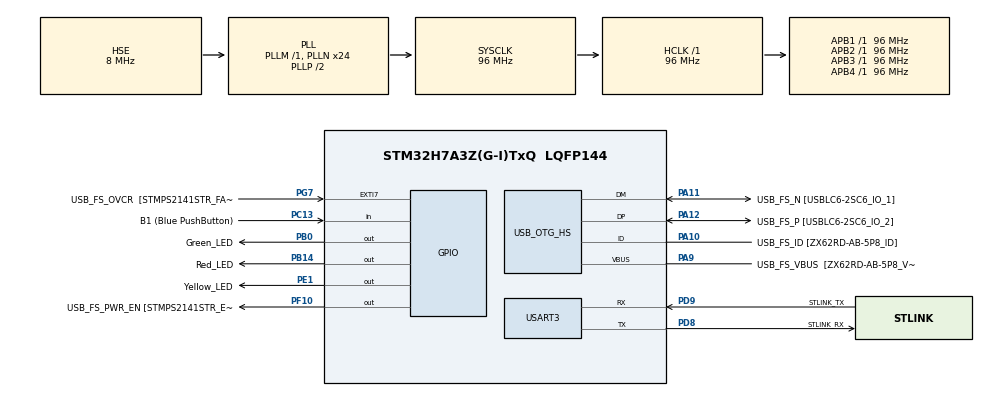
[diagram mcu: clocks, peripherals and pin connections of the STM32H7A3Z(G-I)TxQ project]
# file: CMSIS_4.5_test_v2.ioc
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Mcu.Family=STM32H7
Mcu.Name=STM32H7A3Z(G-I)TxQ
Mcu.Package=LQFP144
NVIC.PriorityGroup=NVIC_PRIORITYGROUP_4
PA10.GPIO_Label=USB_FS_ID [ZX62RD-AB-5P8_ID]
PA10.Mode=OTG/Dual-Role-Device-FS
PA10.Signal=USB_OTG_HS_ID
PA11.GPIO_Label=USB_FS_N [USBLC6-2SC6_IO_1]
PA11.Mode=OTG/Dual-Role-Device-FS
PA11.Signal=USB_OTG_HS_DM
PA12.GPIO_Label=USB_FS_P [USBLC6-2SC6_IO_2]
PA12.Mode=OTG/Dual-Role-Device-FS
PA12.Signal=USB_OTG_HS_DP
PA9.GPIO_Label=USB_FS_VBUS  [ZX62RD-AB-5P8_VBUS]
PA9.Mode=Activate_VBUS_FS
PA9.Signal=USB_OTG_HS_VBUS
PB0.GPIO_Label=Green_LED
PB0.Signal=GPIO_Output
PB14.GPIO_Label=Red_LED
PB14.Signal=GPIO_Output
PC13.GPIO_Label=B1 (Blue PushButton)
PC13.Signal=GPIO_Input
PC14-OSC32_IN.GPIO_Label=OSC32_IN
PC14-OSC32_IN.Mode=LSE-External-Oscillator
PC14-OSC32_IN.Signal=RCC_OSC32_IN
PC15-OSC32_OUT.GPIO_Label=OSC32_OUT
PC15-OSC32_OUT.Mode=LSE-External-Oscillator
PC15-OSC32_OUT.Signal=RCC_OSC32_OUT
PD8.GPIO_Label=STLINK_RX
PD8.Mode=Asynchronous
PD8.Signal=USART3_TX
PD9.GPIO_Label=STLINK_TX
PD9.Mode=Asynchronous
PD9.Signal=USART3_RX
PE1.GPIO_Label=Yellow_LED
PE1.Signal=GPIO_Output
PF10.GPIO_Label=USB_FS_PWR_EN [STMPS2141STR_EN]
PF10.Signal=GPIO_Output
PG7.GPIO_Label=USB_FS_OVCR  [STMPS2141STR_FAULT]
PG7.Signal=GPXTI7
PH0-OSC_IN.GPIO_Label=PH0-MCU
PH0-OSC_IN.Mode=HSE-External-Clock-Source
PH0-OSC_IN.Signal=RCC_OSC_IN
PH1-OSC_OUT.GPIO_Label=PH1-MCU
PH1-OSC_OUT.Signal=RCC_OSC_OUT
ProjectManager.HeapSize=0x200
ProjectManager.StackSize=0x400
ProjectManager.TargetToolchain=STM32CubeIDE
RCC.ADCFreq_Value=16125000
RCC.APB1Freq_Value=96000000
RCC.APB2Freq_Value=96000000
RCC.APB3Freq_Value=96000000
RCC.APB4Freq_Value=96000000
RCC.CortexFreq_Value=96000000
RCC.DIVM1=1
RCC.DIVM3=1
RCC.DIVN1=24
RCC.DIVN3=24
RCC.DIVQ1=4
RCC.HCLKFreq_Value=96000000
RCC.HSE_VALUE=8000000
RCC.PLLFRACN=0
RCC.PLLSourceVirtual=RCC_PLLSOURCE_HSE
RCC.PWR_Regulator_Voltage_Scale=PWR_REGULATOR_VOLTAGE_SCALE0
RCC.SYSCLKFreq_VALUE=96000000
RCC.SYSCLKSource=RCC_SYSCLKSOURCE_PLLCLK
RCC.SupplySource=PWR_DIRECT_SMPS_SUPPLY
RCC.USBCLockSelection=RCC_USBCLKSOURCE_HSI48
RCC.USBFreq_Value=48000000
USART3.VirtualMode-Asynchronous=VM_ASYNC
board=NUCLEO-H7A3ZI-Q

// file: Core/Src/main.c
/* USER CODE BEGIN Header */
/**
  ******************************************************************************
  * @file           : main.c
  * @brief          : Main program body
  ******************************************************************************
  * @attention
  *
  * Copyright (c) 2022 STMicroelectronics.
  * All rights reserved.
  *
  * This software is licensed under terms that can be found in the LICENSE file
  * in the root directory of this software component.
  * If no LICENSE file comes with this software, it is provided AS-IS.
  *
  ******************************************************************************
  */
/* USER CODE END Header */
#include "main.h"

/* USER CODE BEGIN Includes */
#include <stdio.h>
#include <stdlib.h>
#include <stdarg.h>
#include "string.h"
#include "arm_math.h"
/* USER CODE END Includes */

/* USER CODE BEGIN PD */
#define WINDOW_SIZE 4 	// Window size of array to calculate covariance
#define NUM_OF_VARIABLES 3 	// Number of variables from sensors for calculating covariance
#define TOTAL_SIZE 12 // WINDOW_SIZE * NUM_OF_VARIABLES

#define SQUARE_SIZE 9 // NUM_OF_VARIABLES^2
/* USER CODE END PD */

UART_HandleTypeDef huart3;

void SystemClock_Config(void);
static void MX_GPIO_Init(void);
static void MX_USART3_UART_Init(void);
static void MX_USB_OTG_HS_USB_Init(void);
/* USER CODE BEGIN PFP */
//arm_status mat_f32_check_equal(arm_matrix_instance_f32 matrixA, arm_matrix_instance_f32 matrixB);
//
//arm_status mat_mult_f32_test(arm_matrix_instance_f32 matrixA, arm_matrix_instance_f32 matrixB, arm_matrix_instance_f32 matrixTrue);
//
//arm_status mat_trans_f32_test(arm_matrix_instance_f32 matrixA, arm_matrix_instance_f32 matrixTrue);
//
//void vec_f32_demean(float32_t dataVector[WINDOW_SIZE], float32_t demeanedVector[WINDOW_SIZE]);
//
//arm_status create_data_matrix(arm_matrix_instance_f32* uninitialised_matrix, int numOfArrays, ...);
//
//arm_status create_data_matrix_f32_test_3_arrays(float32_t array1[9], float32_t array2[9], float32_t array3[9], float32_t arrayTrue[27]);

/* USER CODE END PFP */

/* USER CODE BEGIN 0 */

arm_status mat_f32_check_equal(arm_matrix_instance_f32 matrixA, arm_matrix_instance_f32 matrixB) {
	/*
	 * Returns ARM_MATH_SIZE_MISMATCH if sizes aren't equal
	 * Returns ARM_MATH_SUCCESS if matrices are equal
	 * Returns ARM_MATH_TEST_FAILURE if matrices aren't equal
	 *
	 * */

	// Check if the rows and cols match up in number
	int test_nRows = (matrixA.numRows == matrixB.numRows);
	int test_nCols = (matrixA.numCols == matrixB.numCols);

	// If there's a mismatch, then return ARM_MATH_SIZE_MISMATCH immediately
	if (test_nRows * test_nCols == 0) {
		return ARM_MATH_SIZE_MISMATCH;
	}

	// Since rows and cols match, we need to check every entry
	for (int i = 0; i < (matrixA.numRows) * (matrixA.numCols); i++) {
		if (matrixA.pData[i] != matrixB.pData[i]) {
			return ARM_MATH_TEST_FAILURE;
		}
	}

	// If it's fine, then return ARM_MATH_SUCCESS
	return ARM_MATH_SUCCESS;
}

arm_status mat_mult_f32_test(arm_matrix_instance_f32 matrixA, arm_matrix_instance_f32 matrixB, arm_matrix_instance_f32 matrixTrue) {
	/*
	 * Checks if matrixA * matrixB equals matrixTrue
	 * Returns ARM_MATH_SUCCESS if the test is passed
	 * Returns ARM_MATH_TEST_FAILURE if the test fails
	 * Returns ARM_MATH_SIZE_MISMATCH if the sizes of each matrix are incompatible
	 * */
	// Initialise variables
	arm_matrix_instance_f32 matrixC; //C. Meant to be C = AB

	// Initialise matrixC to store the result of matrixA * matrixB
	uint16_t matrixC_size = matrixA.numRows * matrixB.numCols;
	float32_t pDataC[matrixC_size];
	arm_mat_init_f32(&matrixC, matrixA.numRows, matrixB.numCols, pDataC);

	// Multiply A and B and store in C. Status stores error info if necessary
	arm_status status = arm_mat_mult_f32(&matrixA, &matrixB, &matrixC);

	// If multiplication failed, then return it
	// If not, then check if the result is equal to the true result and return status

	if (status == ARM_MATH_SUCCESS) {
		status = mat_f32_check_equal(matrixC, matrixTrue);
	}
	free(pDataC);
	return status;
}

arm_status mat_trans_f32_test(arm_matrix_instance_f32 matrixA, arm_matrix_instance_f32 matrixTrue) {
	// Initialise variables
	arm_matrix_instance_f32 matrixAT;
	uint16_t sizeMatrixAT = matrixA.numRows * matrixA.numCols;
	float32_t pDataAT[sizeMatrixAT];
	arm_mat_init_f32(&matrixAT, matrixA.numCols, matrixA.numRows, pDataAT);

	// Transpose A and store in AT
	arm_status status = arm_mat_trans_f32(&matrixA, &matrixAT);

	if (status == ARM_MATH_SIZE_MISMATCH) {
		Error_Handler();
	}

	// Check if the result matches the true answer
	status = mat_f32_check_equal(matrixAT, matrixTrue);

	return status;
}

void vec_f32_demean(float32_t dataVector[WINDOW_SIZE]/*, float32_t demeanedVector[WINDOW_SIZE]*/) {
/*
 *
 * */
	// Initialise variables
	float32_t meanValue = 0; // Stores mean of the dataVector input

	// first, get the mean of this 1 x WINDOW_SIZE vector and store in meanValue
	arm_mean_f32(dataVector, (uint32_t) WINDOW_SIZE, &meanValue);

	// Now offset the input vector by the mean value
	arm_offset_f32(dataVector, -meanValue, dataVector, (uint32_t) WINDOW_SIZE);

}

arm_status create_data_matrix_f32(arm_matrix_instance_f32* uninitialised_matrix, int numOfArrays, ...) {
	/* This function takes in an uninitialised matrix ptr, a number of arrays, and those float32_t arrays themselves
	 * It checks that there is an appropriate number of inputs and that all inputs are of the appropriate size
	 * If this is true, then the matrix is initialised formally with each array being a row of the matrix.
	 *
	 *
	 * uninitialised_matrix: Uninitialised matrix instance. This will be altered to turn into the relevant matrix
	 * numOfArrays: A counter to check how many arrays were passed in
	 * ...: Variable number of arrays passed in. Arrays of float32_t type to match the va_arg calls in this function
	 * 	NOTE: Each array should have a length of WINDOW_SIZE, but as of 18/07/2022
	 *
	 * Returns ARM_MATH_SUCCESS if a matrix was initialised correctly
	 * If numOfArrays doesn't match NUM_OF_VARIABLES, returns with ARM_MATH_SIZE_MISMATCH
	 * Also sets uninitialised_matrix to have the relevant size (nRows = numOfArrays ; nCols = WINDOW_SIZE)
	 * 	Each row corresponds to a different variable. They represent the 0th to (WINDOW_SIZE - 1)th sample
	 * 		(eg: XAccel data from 1st sample to 100th sample, corresponding )
	 * 	Each column represents the nth data entry of all variables
	 * 		(eg: n = 4 matches column 3: Column 3 has the 4th data entry for XAccel, YAccel, ZAccel, Altitude, Pressure, Temp)
	 *
	 * Eg: create_data_matrix_f32(dummy_matrix, 3, XAccelVector[WINDOW_SIZE], YAccelVector[WINDOW_SIZE], ZAccelVector[WINDOW_SIZE]);
	 * */
	// if numOfArrays != NUM_OF_VARIABLES, then return size mismatch immediately
	if (numOfArrays != NUM_OF_VARIABLES) {
		return ARM_MATH_SIZE_MISMATCH;
	}
	// Declare variable argument variables and other variables
	va_list valist;
//	int outputVector_size = WINDOW_SIZE * numOfArrays;
	float32_t outputVector[TOTAL_SIZE];

	// Start accessing the arguments
	va_start(valist, numOfArrays);

	// Since all arguments from here should be float32_t arrays, declare a dummy array to store it
	float32_t* argument = NULL;

	for (int i = 0; i < numOfArrays; i++) {
		// Get next argument
		argument = va_arg(valist, float32_t*);

		// If the length of this argument doesn't match WINDOW_SIZE, then return size mismatch
//		if ((sizeof(argument))/(sizeof(float32_t)) != WINDOW_SIZE) {
//			return ARM_MATH_SIZE_MISMATCH;
//		}

		// Add it to the output array
		for (int j = 0; j < WINDOW_SIZE; j++) {
			outputVector[i * WINDOW_SIZE + j] = argument[j];
		}
	}
	// Stop accessing arguments
	va_end(valist);

	// Output vector now has everything we need
	// Properly initialise the matrix so that it has everything it needs
	arm_mat_init_f32(uninitialised_matrix, numOfArrays, (uint16_t) WINDOW_SIZE, outputVector);

	// Seems like the function works; return ARM_MATH_SUCCESS
	return ARM_MATH_SUCCESS;
}

arm_status create_covariance_matrix_f32(arm_matrix_instance_f32* dataMatrix, int N, arm_matrix_instance_f32* covarianceMatrix) {
	/*
	* Inputs:
	* dataMatrix: A matrix with all the data entries in them, and demeaned already
	* 	The format should be:
	* 		Rows representing different variables
	* 		Columns representing different samples
	* 	Note that the create_data_matrix_f32 function turns the uninitialised matrix input into a
	* 	matrix with the compatible format for this function
	*
	* N: the number of samples (should be WINDOW_SIZE anyway). Bessel's correction is done internally anyway
	* covarianceMatrix: An uninitialised matrix with known dimensions
	* 	(NUM_OF_VARIABLES x NUM_OF_VARIABLES)
	*
	* Outputs:
	* status to show if the function completed the steps.
	* 	Furthermore, the covarianceMatrix input will now be initialised with the correct data
	* */

	// Initialise status variable
	arm_status status;

	// Initialise a new matrix to store the transpose of dataMatrix
	arm_matrix_instance_f32* dataMatrixT = dataMatrix - ((TOTAL_SIZE+1) * sizeof(arm_matrix_instance_f32));
//	uint16_t dataMatrixT_size = (dataMatrix.numRows) * (dataMatrix.numCols);
//	float32_t pData_dataMatrixT[TOTAL_SIZE];
	float32_t* pData_dataMatrixT = dataMatrix->pData - ((TOTAL_SIZE+1) * sizeof(float32_t));
	arm_mat_init_f32(dataMatrixT, dataMatrix->numCols, dataMatrix->numRows, pData_dataMatrixT);

	// Initialise a new matrix to store the result of dataMatrix * dataMatrixT
	arm_matrix_instance_f32* tempMatrix = (dataMatrixT) - ((TOTAL_SIZE+1) * sizeof(arm_matrix_instance_f32));
//	uint16_t tempMatrix_size = (dataMatrix.numRows) * (dataMatrix.numRows); // Due to the order of multiplication
//	float32_t pData_tempMatrix[SQUARE_SIZE];
	float32_t* pData_tempMatrix = (dataMatrixT->pData) - ((TOTAL_SIZE+1) * sizeof(float32_t));
	arm_mat_init_f32(tempMatrix, (dataMatrix->numRows), (dataMatrix->numRows), pData_tempMatrix);

	// Properly initialise the covariance matrix
//	uint16_t covarianceMatrix_size = (dataMatrix.numRows) * (dataMatrix.numRows);
//	float32_t pData_covarianceMatrix[SQUARE_SIZE];
	float32_t* pData_covarianceMatrix = (tempMatrix->pData) - ((TOTAL_SIZE+1) * sizeof(float32_t));
	arm_mat_init_f32(covarianceMatrix, dataMatrix->numRows, dataMatrix->numRows, pData_covarianceMatrix);

	// Transpose dataMatrix and store in dataMatrixT
	status = arm_mat_trans_f32(dataMatrix, &dataMatrixT);

	if (status != ARM_MATH_SUCCESS) {
		return status;
	}

	// Now do dataMatrix * dataMatrixT and store into tempMatrix
	status = arm_mat_mult_f32(dataMatrix, &dataMatrixT, &tempMatrix);

	if (status != ARM_MATH_SUCCESS) {
		return status;
	}

	// Finally, scale each result by 1/(N-1) = 1/((uint16_t) WINDOW_SIZE - 1) (Bessel's correction
	float32_t scaleFactor = ((float32_t) 1)/(N-1);
	status = arm_mat_scale_f32(&tempMatrix, scaleFactor, covarianceMatrix);
	if (status != ARM_MATH_SUCCESS) {
		return status;
	}

	return status;
}

arm_status create_data_matrix_f32_test_3_arrays(float32_t array1[9], float32_t array2[9], float32_t array3[9], float32_t arrayTrue[27]) {
	// Initialise variables
	arm_matrix_instance_f32 test_matrix;
	arm_matrix_instance_f32 true_matrix;
	uint16_t arrayRows = 1;
	uint16_t arrayCols = 3;

	uint16_t arrayTrueRows = 3;
	uint16_t arrayTrueCols = 9;

	arm_status status;

	// Set up the true matrix
	arm_mat_init_f32(&true_matrix, arrayTrueRows, arrayTrueCols, arrayTrue);

	// Call the function
	status = create_data_matrix_f32(&test_matrix, 3, array1, array2, array3);

	// Check if the test matrix is the same as the true matrix
	status = mat_f32_check_equal(test_matrix, true_matrix);

	return status;

}

arm_status create_covariance_matrix_f32_test_3_arrays(float32_t array1[WINDOW_SIZE], float32_t array2[WINDOW_SIZE], float32_t array3[WINDOW_SIZE], float32_t arrayTrue[9]) {
	/*
	 * Test structure:
	 * 	Demean array1, array2, and array3 respectively using the vec_f32_demean function
	 * 	Use the resulting vectors to create a data matrix using the create_data_matrix_f32 function
	 * 	From there, pass the resulting data_matrix into the create_covariance_matrix_f32 function
	 *
	 * 	Check if the final result matches the expected result generated on MATLAB (format long just in case)
	 *	Return status if the status is not ARM_MATH_SUCCESS at some point
	 *	Return ARM_MATH_SUCCESS if the test is passed
	 *	Return ARM_MATH_TEST_FAILURE if the test fails
	 *
	 * */

	// Initialise general variables
	uint16_t numOfRows = 3;
	uint16_t numOfCols = 4;
	arm_status status;

	// Initialise variables for demeaning step
//	float32_t demeanedArray1[WINDOW_SIZE];
//	float32_t demeanedArray2[WINDOW_SIZE];
//	float32_t demeanedArray3[WINDOW_SIZE];

	// Create the true covariance matrix (size of arrayTrue should be numOfRows^2)
	arm_matrix_instance_f32 covarianceMatrixTrue;
	arm_mat_init_f32(&covarianceMatrixTrue, numOfRows, numOfRows, arrayTrue);

	// Initialise variables for data_matrix creation step
	arm_matrix_instance_f32 dataMatrix;

	int size_arm_mat_instance_f32 = sizeof(dataMatrix);

	// Initialise variables for covariance creation step
	arm_matrix_instance_f32 covarianceMatrix;

	// Demean the data and store in appropriate vectors
//	vec_f32_demean(array1, demeanedArray1);
//	vec_f32_demean(array2, demeanedArray2);
//	vec_f32_demean(array3, demeanedArray3);

	vec_f32_demean(array1);
	vec_f32_demean(array2);
	vec_f32_demean(array3);

	// Use demeanedArrays to make a data_matrix
//	status = create_data_matrix_f32(&dataMatrix, numOfRows, demeanedArray1, demeanedArray2, demeanedArray3);

	status = create_data_matrix_f32(&dataMatrix, numOfRows, array1, array2, array3);

	size_arm_mat_instance_f32 = sizeof(dataMatrix);

	if (status != ARM_MATH_SUCCESS) {
		return status;
	}

	// Use dataMatrix to make covariance matrix
	status = create_covariance_matrix_f32(&dataMatrix, numOfCols, &covarianceMatrix);

	if (status != ARM_MATH_SUCCESS) {
		return status;
	}

	// Check that this covarianceMatrix matches the true matrix
	status = mat_f32_check_equal(covarianceMatrix, covarianceMatrixTrue);

	return status;
}
/* USER CODE END 0 */

int main(void)
{

  /* MCU Configuration--------------------------------------------------------*/

  /* Reset of all peripherals, Initializes the Flash interface and the Systick. */
  HAL_Init();

  /* Configure the system clock */
  SystemClock_Config();

  /* Initialize all configured peripherals */
  MX_GPIO_Init();
  MX_USART3_UART_Init();
  MX_USB_OTG_HS_USB_Init();
  /* USER CODE BEGIN 2 */

  // Initialise some variables
  arm_matrix_instance_f32 matrixA; //A
  arm_matrix_instance_f32 matrixB; //B

  arm_matrix_instance_f32 matrixTrue_mat_mult_f32; // True result to compare against
  arm_matrix_instance_f32 matrixTrue_mat_trans_f32;

  uint16_t nRowsA = 3;
  uint16_t nColsA = 3;
  float32_t pDataA[] = {1,2,3,4,5,6,7,8,9};

  uint16_t nRowsB = 3;
  uint16_t nColsB = 3;
  float32_t pDataB[] = {8,1,3,5,2,4,8,1,5};

  float32_t pDataC[] = {9,8,7,6,5,4,3,2,1};
  float32_t pDataTrue_create_data_matrix_f32_test_3_arrays[] = {1,2,3,4,5,6,7,8,9,8,1,3,5,2,4,8,1,5,9,8,7,6,5,4,3,2,1};

  float32_t pDataX[] = {1,2,3,4};
  float32_t pDataY[] = {4,9,6,1};
  float32_t pDataZ[] = {9,2,4,6};

  uint16_t nRowsTrue_mat_mult_f32 = nRowsA;
  uint16_t nColsTrue_mat_mult_f32 = nColsB;
  float32_t pDataTrue_mat_mult_f32[] = {18,5,11,44,11,25,70,17,39};
//  float32_t pDataTrue_covariance_f32[] = {
//		  19,8,	6,4,-3,-5,-5,-16,-16,8,14.3333333333333,8.66666666666667,3,4,-1.66666666666667,-10,-3.66666666666667,-12,6,8.66666666666667,5.33333333333333,2,2,-1.33333333333333,-6,-3.33333333333333,-8,4,3,2,1,0,-1,-2,-3,-4,-3,4,2,0,3,1,-3,4.00000000000000,0,-5,-1.66666666666667,-1.33333333333333,-1,1,1.33333333333333,1,4.33333333333333,4,-5,-10,-6,-2,-3,1,7,2.00000000000000,8,-16,-3.66666666666667,-3.33333333333333,-3,4.00000000000000,4.33333333333333,2.00000000000000,14.3333333333333,12,-16,-12,-8,-4,0,4,8,12,16
//  };
  float32_t pDataTrue_covariance_f32[] = {16.3333,-2.3333,1.1667,5.333,-2.3333,16.3333,5.8333,-9.3333,1.1667,5.8333,2.3333,-2.8333,5.3333,-9.3333,-2.8333,6.3333};

  uint16_t nRowsTrue_mat_trans_f32 = 2;
  uint16_t nColsTrue_mat_trans_f32 = 2;
  float32_t pDataTrue_mat_trans_f32[] = {8,5,1,2,3,4};

  arm_mat_init_f32(&matrixA, nRowsA, nColsA, pDataA);
  arm_mat_init_f32(&matrixB, nRowsB, nColsB, pDataB);
  arm_mat_init_f32(&matrixTrue_mat_mult_f32, nRowsTrue_mat_mult_f32, nColsTrue_mat_mult_f32, pDataTrue_mat_mult_f32);
  arm_mat_init_f32(&matrixTrue_mat_trans_f32, nRowsTrue_mat_trans_f32, nColsTrue_mat_trans_f32, pDataTrue_mat_trans_f32);

  // Call the relevant test
//  arm_status test_result = mat_mult_f32_test(matrixA, matrixB, matrixTrue_mat_mult_f32);
//  arm_status test_result = mat_trans_f32_test(matrixB, matrixTrue_mat_trans_f32);
//  arm_status test_result = create_data_matrix_f32_test_3_arrays(pDataA, pDataB, pDataC, pDataTrue_create_data_matrix_f32_test_3_arrays);
  arm_status test_result = create_covariance_matrix_f32_test_3_arrays(pDataX, pDataY, pDataZ, pDataTrue_covariance_f32);
  // Depending on the test result, blink LED's appropriately
  if (test_result == ARM_MATH_SIZE_MISMATCH) {
	  Error_Handler();
  }

  /* USER CODE END 2 */

  /* Infinite loop */
  /* USER CODE BEGIN WHILE */
  while (1)
  {
	  if (test_result == ARM_MATH_SUCCESS) {
		  HAL_GPIO_TogglePin(Green_LED_GPIO_Port, Green_LED_Pin);
	  }
	  else if (test_result == ARM_MATH_TEST_FAILURE) {
		  HAL_GPIO_TogglePin(Red_LED_GPIO_Port, Red_LED_Pin);
	  }
	  HAL_Delay(1000);
    /* USER CODE END WHILE */

  }
}

void SystemClock_Config(void)
{
  RCC_OscInitTypeDef RCC_OscInitStruct = {0};
  RCC_ClkInitTypeDef RCC_ClkInitStruct = {0};

  /** Supply configuration update enable
  */
  HAL_PWREx_ConfigSupply(PWR_DIRECT_SMPS_SUPPLY);
  /** Configure the main internal regulator output voltage
  */
  __HAL_PWR_VOLTAGESCALING_CONFIG(PWR_REGULATOR_VOLTAGE_SCALE0);

  while(!__HAL_PWR_GET_FLAG(PWR_FLAG_VOSRDY)) {}
  /** Initializes the RCC Oscillators according to the specified parameters
  * in the RCC_OscInitTypeDef structure.
  */
  RCC_OscInitStruct.OscillatorType = RCC_OSCILLATORTYPE_HSI48|RCC_OSCILLATORTYPE_HSE;
  RCC_OscInitStruct.HSEState = RCC_HSE_BYPASS;
  RCC_OscInitStruct.HSI48State = RCC_HSI48_ON;
  RCC_OscInitStruct.PLL.PLLState = RCC_PLL_ON;
  RCC_OscInitStruct.PLL.PLLSource = RCC_PLLSOURCE_HSE;
  RCC_OscInitStruct.PLL.PLLM = 1;
  RCC_OscInitStruct.PLL.PLLN = 24;
  RCC_OscInitStruct.PLL.PLLP = 2;
  RCC_OscInitStruct.PLL.PLLQ = 4;
  RCC_OscInitStruct.PLL.PLLR = 2;
  RCC_OscInitStruct.PLL.PLLRGE = RCC_PLL1VCIRANGE_3;
  RCC_OscInitStruct.PLL.PLLVCOSEL = RCC_PLL1VCOWIDE;
  RCC_OscInitStruct.PLL.PLLFRACN = 0;
  if (HAL_RCC_OscConfig(&RCC_OscInitStruct) != HAL_OK)
  {
    Error_Handler();
  }
  /** Initializes the CPU, AHB and APB buses clocks
  */
  RCC_ClkInitStruct.ClockType = RCC_CLOCKTYPE_HCLK|RCC_CLOCKTYPE_SYSCLK
                              |RCC_CLOCKTYPE_PCLK1|RCC_CLOCKTYPE_PCLK2
                              |RCC_CLOCKTYPE_D3PCLK1|RCC_CLOCKTYPE_D1PCLK1;
  RCC_ClkInitStruct.SYSCLKSource = RCC_SYSCLKSOURCE_PLLCLK;
  RCC_ClkInitStruct.SYSCLKDivider = RCC_SYSCLK_DIV1;
  RCC_ClkInitStruct.AHBCLKDivider = RCC_HCLK_DIV1;
  RCC_ClkInitStruct.APB3CLKDivider = RCC_APB3_DIV1;
  RCC_ClkInitStruct.APB1CLKDivider = RCC_APB1_DIV1;
  RCC_ClkInitStruct.APB2CLKDivider = RCC_APB2_DIV1;
  RCC_ClkInitStruct.APB4CLKDivider = RCC_APB4_DIV1;

  if (HAL_RCC_ClockConfig(&RCC_ClkInitStruct, FLASH_LATENCY_2) != HAL_OK)
  {
    Error_Handler();
  }
}

static void MX_USART3_UART_Init(void)
{

  huart3.Instance = USART3;
  huart3.Init.BaudRate = 115200;
  huart3.Init.WordLength = UART_WORDLENGTH_8B;
  huart3.Init.StopBits = UART_STOPBITS_1;
  huart3.Init.Parity = UART_PARITY_NONE;
  huart3.Init.Mode = UART_MODE_TX_RX;
  huart3.Init.HwFlowCtl = UART_HWCONTROL_NONE;
  huart3.Init.OverSampling = UART_OVERSAMPLING_16;
  huart3.Init.OneBitSampling = UART_ONE_BIT_SAMPLE_DISABLE;
  huart3.Init.ClockPrescaler = UART_PRESCALER_DIV1;
  huart3.AdvancedInit.AdvFeatureInit = UART_ADVFEATURE_NO_INIT;
  if (HAL_UART_Init(&huart3) != HAL_OK)
  {
    Error_Handler();
  }
  if (HAL_UARTEx_SetTxFifoThreshold(&huart3, UART_TXFIFO_THRESHOLD_1_8) != HAL_OK)
  {
    Error_Handler();
  }
  if (HAL_UARTEx_SetRxFifoThreshold(&huart3, UART_RXFIFO_THRESHOLD_1_8) != HAL_OK)
  {
    Error_Handler();
  }
  if (HAL_UARTEx_DisableFifoMode(&huart3) != HAL_OK)
  {
    Error_Handler();
  }

}

static void MX_USB_OTG_HS_USB_Init(void)
{

}

static void MX_GPIO_Init(void)
{
  GPIO_InitTypeDef GPIO_InitStruct = {0};

  /* GPIO Ports Clock Enable */
  __HAL_RCC_GPIOC_CLK_ENABLE();
  __HAL_RCC_GPIOF_CLK_ENABLE();
  __HAL_RCC_GPIOH_CLK_ENABLE();
  __HAL_RCC_GPIOB_CLK_ENABLE();
  __HAL_RCC_GPIOD_CLK_ENABLE();
  __HAL_RCC_GPIOG_CLK_ENABLE();
  __HAL_RCC_GPIOA_CLK_ENABLE();
  __HAL_RCC_GPIOE_CLK_ENABLE();

  /*Configure GPIO pin Output Level */
  HAL_GPIO_WritePin(USB_FS_PWR_EN_GPIO_Port, USB_FS_PWR_EN_Pin, GPIO_PIN_RESET);

  /*Configure GPIO pin Output Level */
  HAL_GPIO_WritePin(GPIOB, Green_LED_Pin|Red_LED_Pin, GPIO_PIN_RESET);

  /*Configure GPIO pin Output Level */
  HAL_GPIO_WritePin(Yellow_LED_GPIO_Port, Yellow_LED_Pin, GPIO_PIN_RESET);

  /*Configure GPIO pin : B1_Pin */
  GPIO_InitStruct.Pin = B1_Pin;
  GPIO_InitStruct.Mode = GPIO_MODE_INPUT;
  GPIO_InitStruct.Pull = GPIO_NOPULL;
  HAL_GPIO_Init(B1_GPIO_Port, &GPIO_InitStruct);

  /*Configure GPIO pin : USB_FS_PWR_EN_Pin */
  GPIO_InitStruct.Pin = USB_FS_PWR_EN_Pin;
  GPIO_InitStruct.Mode = GPIO_MODE_OUTPUT_PP;
  GPIO_InitStruct.Pull = GPIO_NOPULL;
  GPIO_InitStruct.Speed = GPIO_SPEED_FREQ_LOW;
  HAL_GPIO_Init(USB_FS_PWR_EN_GPIO_Port, &GPIO_InitStruct);

  /*Configure GPIO pins : Green_LED_Pin Red_LED_Pin */
  GPIO_InitStruct.Pin = Green_LED_Pin|Red_LED_Pin;
  GPIO_InitStruct.Mode = GPIO_MODE_OUTPUT_PP;
  GPIO_InitStruct.Pull = GPIO_NOPULL;
  GPIO_InitStruct.Speed = GPIO_SPEED_FREQ_LOW;
  HAL_GPIO_Init(GPIOB, &GPIO_InitStruct);

  /*Configure GPIO pin : USB_FS_OVCR_Pin */
  GPIO_InitStruct.Pin = USB_FS_OVCR_Pin;
  GPIO_InitStruct.Mode = GPIO_MODE_IT_RISING;
  GPIO_InitStruct.Pull = GPIO_NOPULL;
  HAL_GPIO_Init(USB_FS_OVCR_GPIO_Port, &GPIO_InitStruct);

  /*Configure GPIO pin : USB_FS_VBUS_Pin */
  GPIO_InitStruct.Pin = USB_FS_VBUS_Pin;
  GPIO_InitStruct.Mode = GPIO_MODE_INPUT;
  GPIO_InitStruct.Pull = GPIO_NOPULL;
  HAL_GPIO_Init(USB_FS_VBUS_GPIO_Port, &GPIO_InitStruct);

  /*Configure GPIO pin : USB_FS_ID_Pin */
  GPIO_InitStruct.Pin = USB_FS_ID_Pin;
  GPIO_InitStruct.Mode = GPIO_MODE_AF_PP;
  GPIO_InitStruct.Pull = GPIO_NOPULL;
  GPIO_InitStruct.Speed = GPIO_SPEED_FREQ_LOW;
  GPIO_InitStruct.Alternate = GPIO_AF10_OTG1_HS;
  HAL_GPIO_Init(USB_FS_ID_GPIO_Port, &GPIO_InitStruct);

  /*Configure GPIO pins : USB_FS_N_Pin USB_FS_P_Pin */
  GPIO_InitStruct.Pin = USB_FS_N_Pin|USB_FS_P_Pin;
  GPIO_InitStruct.Mode = GPIO_MODE_AF_PP;
  GPIO_InitStruct.Pull = GPIO_NOPULL;
  GPIO_InitStruct.Speed = GPIO_SPEED_FREQ_LOW;
  HAL_GPIO_Init(GPIOA, &GPIO_InitStruct);

  /*Configure GPIO pin : Yellow_LED_Pin */
  GPIO_InitStruct.Pin = Yellow_LED_Pin;
  GPIO_InitStruct.Mode = GPIO_MODE_OUTPUT_PP;
  GPIO_InitStruct.Pull = GPIO_NOPULL;
  GPIO_InitStruct.Speed = GPIO_SPEED_FREQ_LOW;
  HAL_GPIO_Init(Yellow_LED_GPIO_Port, &GPIO_InitStruct);

}

void Error_Handler(void)
{
  /* USER CODE BEGIN Error_Handler_Debug */
  /* User can add his own implementation to report the HAL error return state */
  __disable_irq();
  while (1)
  {
	  HAL_GPIO_WritePin(Red_LED_GPIO_Port, Red_LED_Pin, GPIO_PIN_SET);
	  HAL_GPIO_WritePin(Green_LED_GPIO_Port, Green_LED_Pin, GPIO_PIN_SET);
	  HAL_GPIO_WritePin(Yellow_LED_GPIO_Port, Yellow_LED_Pin, GPIO_PIN_SET);
  }
  /* USER CODE END Error_Handler_Debug */
}
